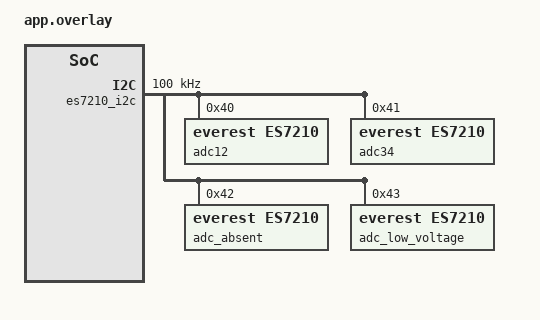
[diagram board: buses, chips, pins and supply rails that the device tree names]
/*
 * SPDX-FileCopyrightText: Copyright The Zephyr Project Contributors
 * SPDX-License-Identifier: Apache-2.0
 */

/ {
	es7210_i2c: i2c@100 {
		compatible = "zephyr,i2c-emul-controller";
		reg = <0x100 0x4>;
		clock-frequency = <100000>;
		#address-cells = <1>;
		#size-cells = <0>;

		adc12: codec@40 {
			compatible = "everest,es7210";
			reg = <0x40>;
			everest,sdout = <1>;
			everest,micbias-millivolt = <2870>;
			everest,vdda-millivolt = <3300>;
			everest,vddd-millivolt = <3300>;
		};

		adc34: codec@41 {
			compatible = "everest,es7210";
			reg = <0x41>;
			everest,sdout = <2>;
			everest,micbias-millivolt = <2180>;
			everest,vdda-millivolt = <3300>;
			everest,vddd-millivolt = <3300>;
		};

		adc_absent: codec@42 {
			compatible = "everest,es7210";
			reg = <0x42>;
			everest,sdout = <1>;
			everest,micbias-millivolt = <2870>;
			everest,vdda-millivolt = <3300>;
			everest,vddd-millivolt = <3300>;
		};

		adc_low_voltage: codec@43 {
			compatible = "everest,es7210";
			reg = <0x43>;
			everest,sdout = <1>;
			everest,micbias-millivolt = <2870>;
			everest,vdda-millivolt = <1800>;
			everest,vddd-millivolt = <1800>;
		};
	};
};
